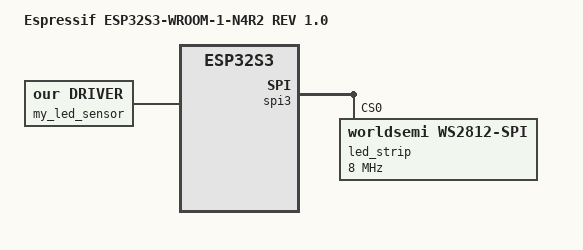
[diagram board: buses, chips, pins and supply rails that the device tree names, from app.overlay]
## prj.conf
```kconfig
# Needed to control the internal RGB LED of the Espressif ESP32s3-WROOM-1-N8R2 on GPIO38
CONFIG_SENSOR=y
CONFIG_LED_STRIP=y
CONFIG_SPI=y
CONFIG_SENSOR_OUR_DRIVER=y
```

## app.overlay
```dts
#include <zephyr/dt-bindings/gpio/gpio.h>
#include <zephyr/dt-bindings/led/led.h>
#include <zephyr/dt-bindings/pinctrl/esp32s3-pinctrl.h>

/*** NOTES FOR FUTURE ME

at the time of this assignment I didn't have a led and resistor laying
around to create a simple blinking led, so I used the RGB led of the esp32s3
defioned at the overlay file from my previous assignment and wrapped it inside
the sample_fetch / channel_get callbacks of this our driver
*/

/ {
    model = "Espressif ESP32S3-WROOM-1-N4R2 REV 1.0";
    compatible = "espressif,esp32s3";

    aliases {
        led-strip     = &led_strip;
        my-led-sensor = &my_led_sensor;
    };

    my_led_sensor: my_led_sensor {
        compatible = "our,driver";
        led-strip = <&led_strip>;
    };
};

&pinctrl {
    spim3_ws2812: spim3_ws2812 {
        group1 {
            /* GPIO48 on board rev v1.0, GPIO38 on v1.1 */
            pinmux = <ESP32_PINMUX(48, ESP_NOSIG, ESP_SPI3_D_OUT)>;
            output-low;
        };
    };
};

&spi3 {
    status = "okay";
    pinctrl-0 = <&spim3_ws2812>;
    pinctrl-names = "default";
    line-idle-low;

    led_strip: ws2812@0 {
        compatible = "worldsemi,ws2812-spi";
        reg = <0>;
        chain-length = <1>;
        color-mapping = <LED_COLOR_ID_GREEN LED_COLOR_ID_RED LED_COLOR_ID_BLUE>;
        spi-max-frequency = <8000000>;
        spi-one-frame     = <0xF8>;
        spi-zero-frame    = <0xC0>;
    };
};
```

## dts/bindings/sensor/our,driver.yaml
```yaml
description: WS2812 LED strip sensor wrapper
compatible: "our,driver"
include: base.yaml

properties:
  led-strip:
    type: phandle
    required: true
    description: LED strip device to control
```

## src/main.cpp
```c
#include <zephyr/kernel.h>
#include <zephyr/device.h>
#include <zephyr/drivers/sensor.h>

int main(void)
{
    const struct device *dev = DEVICE_DT_GET(DT_ALIAS(my_led_sensor));
    struct sensor_value val;

    if (!device_is_ready(dev)) {
        printk("my_led_sensor not ready\n");
        return -1;
    }

    while (1) {
        sensor_sample_fetch(dev);                         /* LED on (green) */
        k_msleep(1000);
        sensor_channel_get(dev, SENSOR_CHAN_ALL, &val);   /* LED off */
        k_msleep(1000);
    }
    return 0;
}
```

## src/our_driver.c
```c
/*
Without it, every DT_INST_* macro uses an empty compat string, matches no nodes,
and DT_INST_FOREACH_STATUS_OKAY produces no instances
*/
#define DT_DRV_COMPAT our_driver

#include <zephyr/device.h>
#include <zephyr/drivers/led_strip.h>
#include <zephyr/drivers/sensor.h>
#include <zephyr/kernel.h>

struct our_driver_config {
  const struct device *strip;
};

struct our_driver_data {
  /* no persistent state needed for a simple color toggle */
};

static int our_driver_sample_fetch(const struct device *dev,
                                   enum sensor_channel chan) {
  const struct our_driver_config *cfg = dev->config;
  struct led_rgb pixel = {.r = 0, .g = 255, .b = 0}; /* Green */

  if (chan != SENSOR_CHAN_ALL) {
    return -ENOTSUP;
  }

  return led_strip_update_rgb(cfg->strip, &pixel, 1);
}

static int our_driver_channel_get(const struct device *dev,
                                  enum sensor_channel chan,
                                  struct sensor_value *val) {
  const struct our_driver_config *cfg = dev->config;
  struct led_rgb pixel = {.r = 0, .g = 0, .b = 0}; /* Off */

  if (chan != SENSOR_CHAN_ALL) {
    return -ENOTSUP;
  }

  (void)led_strip_update_rgb(cfg->strip, &pixel, 1);
  val->val1 = 0;
  val->val2 = 0;
  return 0;
}

static const struct sensor_driver_api our_driver_api = {
    .sample_fetch = our_driver_sample_fetch,
    .channel_get = our_driver_channel_get,
};

static int our_driver_init(const struct device *dev) {
  const struct our_driver_config *cfg = dev->config;

  if (!device_is_ready(cfg->strip)) {
    return -ENODEV;
  }
  return 0;
}

#define OUR_DRIVER_INIT(inst)                                                  \
  static const struct our_driver_config our_driver_config_##inst = {           \
      .strip = DEVICE_DT_GET(DT_INST_PHANDLE(inst, led_strip)),                \
  };                                                                           \
  DEVICE_DT_INST_DEFINE(inst, our_driver_init, NULL, NULL,                     \
                        &our_driver_config_##inst, POST_KERNEL,                \
                        CONFIG_SENSOR_INIT_PRIORITY, &our_driver_api);

DT_INST_FOREACH_STATUS_OKAY(OUR_DRIVER_INIT)
```
